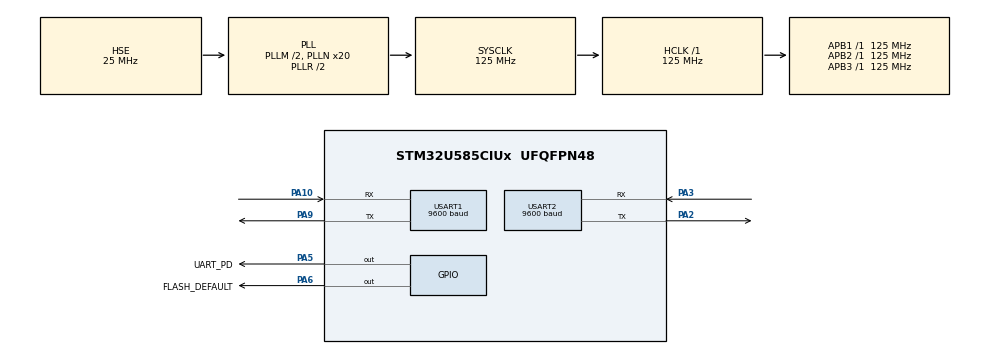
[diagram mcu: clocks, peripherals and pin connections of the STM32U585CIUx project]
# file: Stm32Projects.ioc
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CORTEX_M33_NS.userName=CORTEX_M33
Mcu.Family=STM32U5
Mcu.Name=STM32U585CIUx
Mcu.Package=UFQFPN48
NVIC.PriorityGroup=NVIC_PRIORITYGROUP_4
NVIC.USART1_IRQn=true\:0\:0\:false\:false\:true\:true\:true\:true
NVIC.USART2_IRQn=true\:0\:0\:false\:false\:true\:true\:true\:true
PA10.Mode=Asynchronous
PA10.Signal=USART1_RX
PA13\ (JTMS/SWDIO).Mode=Serial_Wire
PA13\ (JTMS/SWDIO).Signal=DEBUG_JTMS-SWDIO
PA14\ (JTCK/SWCLK).Mode=Serial_Wire
PA14\ (JTCK/SWCLK).Signal=DEBUG_JTCK-SWCLK
PA2.Mode=Asynchronous
PA2.Signal=USART2_TX
PA3.Mode=Asynchronous
PA3.Signal=USART2_RX
PA5.GPIO_Label=UART_PD 
PA5.PinState=GPIO_PIN_SET
PA5.Signal=GPIO_Output
PA6.GPIO_Label=FLASH_DEFAULT
PA6.PinState=GPIO_PIN_SET
PA6.Signal=GPIO_Output
PA9.Mode=Asynchronous
PA9.Signal=USART1_TX
PC14-OSC32_IN\ (PC14).Mode=LSE-External-Oscillator
PC14-OSC32_IN\ (PC14).Signal=RCC_OSC32_IN
PC15-OSC32_OUT\ (PC15).Mode=LSE-External-Oscillator
PC15-OSC32_OUT\ (PC15).Signal=RCC_OSC32_OUT
PH0-OSC_IN\ (PH0).Mode=HSE-External-Oscillator
PH0-OSC_IN\ (PH0).Signal=RCC_OSC_IN
PH1-OSC_OUT\ (PH1).Mode=HSE-External-Oscillator
PH1-OSC_OUT\ (PH1).Signal=RCC_OSC_OUT
ProjectManager.HeapSize=0x200
ProjectManager.StackSize=0x400
ProjectManager.TargetToolchain=STM32CubeIDE
RCC.ADCFreq_Value=16000000
RCC.AHBFreq_Value=125000000
RCC.APB1Freq_Value=125000000
RCC.APB1TimFreq_Value=125000000
RCC.APB2Freq_Value=125000000
RCC.APB2TimFreq_Value=125000000
RCC.APB3Freq_Value=125000000
RCC.CortexFreq_Value=125000000
RCC.EPOD_VALUE=25000000
RCC.HCLKFreq_Value=125000000
RCC.HSE_VALUE=25000000
RCC.HSI48_VALUE=48000000
RCC.HSI_VALUE=16000000
RCC.LSIDIV_VALUE=32000
RCC.MSI_VALUE=4000000
RCC.PLL2FRACN=0
RCC.PLL2Source=RCC_PLLSOURCE_HSE
RCC.PLL3FRACN=0
RCC.PLL3Source=RCC_PLLSOURCE_HSI
RCC.PLLFRACN=0
RCC.PLLM=2
RCC.PLLN=20
RCC.PLLSourceVirtual=RCC_PLLSOURCE_HSE
RCC.SYSCLKFreq_VALUE=125000000
RCC.SYSCLKSource=RCC_SYSCLKSOURCE_PLLCLK
RCC.USART1CLockSelectionVirtual=RCC_USART1CLKSOURCE_HSI
RCC.USART2CLockSelectionVirtual=RCC_USART2CLKSOURCE_HSI
RCC.USBFreq_Value=48000000
RCC.VCOOutputFreq_Value=250000000
USART1.BaudRate=9600
USART1.VirtualMode-Asynchronous=VM_ASYNC
USART2.BaudRate=9600
USART2.VirtualMode-Asynchronous=VM_ASYNC
VP_LPBAMQUEUE_VS_QUEUE.Mode=QUEUEMODE
VP_LPBAM_VS_SIG1.Mode=SmartRun
VP_LPBAM_VS_SIG4.Mode=LPDMA1
VP_MEMORYMAP_VS_MEMORYMAP.Mode=CurAppReg
VP_PWR_VS_SECSignals.Mode=Security/Privilege
board=custom

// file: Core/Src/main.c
/* USER CODE BEGIN Header */
/**
  ******************************************************************************
  * @file           : main.c
  * @brief          : Main program body
  ******************************************************************************
  * @attention
  *
  * Copyright (c) 2026 STMicroelectronics.
  * All rights reserved.
  *
  * This software is licensed under terms that can be found in the LICENSE file
  * in the root directory of this software component.
  * If no LICENSE file comes with this software, it is provided AS-IS.
  *
  ******************************************************************************
  */
/* USER CODE END Header */
#include "main.h"

/* USER CODE BEGIN Includes */
#include "string.h"

/* USER CODE END Includes */

/* USER CODE BEGIN PD */
#define UART_RX_BUFFER_SIZE  40
uint8_t UART1_RxBuffer[UART_RX_BUFFER_SIZE] = {0};
uint8_t MainBuffer[UART_RX_BUFFER_SIZE]; // Temporary storage for transmission
uint16_t RxDataLen = 0;

uint8_t Uart2_RxBuffer[UART_RX_BUFFER_SIZE] = {0};
uint8_t Uart2_MainBuffer[UART_RX_BUFFER_SIZE]; // Temporary storage for transmission
uint16_t Uart2_RxDataLen = 0;

volatile uint8_t newDataFromPC = 0;
volatile uint8_t newDataFromBLE = 0;

/* USER CODE END PD */

UART_HandleTypeDef huart1;
UART_HandleTypeDef huart2;

void SystemClock_Config(void);
static void MX_GPIO_Init(void);
static void MX_USART1_UART_Init(void);
static void MX_USART2_UART_Init(void);

int main(void)
{

  /* MCU Configuration--------------------------------------------------------*/

  /* Reset of all peripherals, Initializes the Flash interface and the Systick. */
  HAL_Init();

  /* Configure the system clock */
  SystemClock_Config();

  /* Initialize all configured peripherals */
  MX_GPIO_Init();
  MX_USART1_UART_Init();
  MX_USART2_UART_Init();
  /* USER CODE BEGIN 2 */

  HAL_UARTEx_ReceiveToIdle_IT(&huart1, UART1_RxBuffer, UART_RX_BUFFER_SIZE);
  HAL_UARTEx_ReceiveToIdle_IT(&huart2, Uart2_RxBuffer, UART_RX_BUFFER_SIZE);

  /* USER CODE END 2 */

  /* Infinite loop */
  while (1)
  {

    /* USER CODE BEGIN 3 */

	  // If we have PC data AND the UART is actually ready to send
	      if (newDataFromPC && huart1.gState == HAL_UART_STATE_READY) {
	          newDataFromPC = 0;
	          HAL_UART_Transmit_IT(&huart1, MainBuffer, RxDataLen); //transmit usb to serial converter. from pc ---> stm32 ----> pc message that was just Received by stm32 that was send by pc.
	          HAL_GPIO_WritePin(GPIOA, GPIO_PIN_5, GPIO_PIN_RESET); //set UART_PD low
	          HAL_Delay(4); // wait 4ms

	          HAL_UART_Transmit_IT(&huart2, MainBuffer, RxDataLen); //transmit to ble module

	          HAL_Delay(250); // wait 250ms blocking delay this is bad we should implement none blocking

	      }

	      // If we have BLE data AND the UART is actually ready to send
	      if (newDataFromBLE && huart1.gState == HAL_UART_STATE_READY) {
	          newDataFromBLE = 0;
	          HAL_UART_Transmit_IT(&huart1, Uart2_MainBuffer, Uart2_RxDataLen);//transmit data from ble module to pc so we can see it in serial terminal.
	      }

  }
  /* USER CODE END 3 */
}

void SystemClock_Config(void)
{
  RCC_OscInitTypeDef RCC_OscInitStruct = {0};
  RCC_ClkInitTypeDef RCC_ClkInitStruct = {0};

  /** Configure the main internal regulator output voltage
  */
  if (HAL_PWREx_ControlVoltageScaling(PWR_REGULATOR_VOLTAGE_SCALE1) != HAL_OK)
  {
    Error_Handler();
  }

  /** Initializes the CPU, AHB and APB buses clocks
  */
  RCC_OscInitStruct.OscillatorType = RCC_OSCILLATORTYPE_HSI|RCC_OSCILLATORTYPE_HSE;
  RCC_OscInitStruct.HSEState = RCC_HSE_ON;
  RCC_OscInitStruct.HSIState = RCC_HSI_ON;
  RCC_OscInitStruct.HSICalibrationValue = RCC_HSICALIBRATION_DEFAULT;
  RCC_OscInitStruct.PLL.PLLState = RCC_PLL_ON;
  RCC_OscInitStruct.PLL.PLLSource = RCC_PLLSOURCE_HSE;
  RCC_OscInitStruct.PLL.PLLMBOOST = RCC_PLLMBOOST_DIV2;
  RCC_OscInitStruct.PLL.PLLM = 2;
  RCC_OscInitStruct.PLL.PLLN = 20;
  RCC_OscInitStruct.PLL.PLLP = 2;
  RCC_OscInitStruct.PLL.PLLQ = 2;
  RCC_OscInitStruct.PLL.PLLR = 2;
  RCC_OscInitStruct.PLL.PLLRGE = RCC_PLLVCIRANGE_1;
  RCC_OscInitStruct.PLL.PLLFRACN = 0;
  if (HAL_RCC_OscConfig(&RCC_OscInitStruct) != HAL_OK)
  {
    Error_Handler();
  }

  /** Initializes the CPU, AHB and APB buses clocks
  */
  RCC_ClkInitStruct.ClockType = RCC_CLOCKTYPE_HCLK|RCC_CLOCKTYPE_SYSCLK
                              |RCC_CLOCKTYPE_PCLK1|RCC_CLOCKTYPE_PCLK2
                              |RCC_CLOCKTYPE_PCLK3;
  RCC_ClkInitStruct.SYSCLKSource = RCC_SYSCLKSOURCE_PLLCLK;
  RCC_ClkInitStruct.AHBCLKDivider = RCC_SYSCLK_DIV1;
  RCC_ClkInitStruct.APB1CLKDivider = RCC_HCLK_DIV1;
  RCC_ClkInitStruct.APB2CLKDivider = RCC_HCLK_DIV1;
  RCC_ClkInitStruct.APB3CLKDivider = RCC_HCLK_DIV1;

  if (HAL_RCC_ClockConfig(&RCC_ClkInitStruct, FLASH_LATENCY_3) != HAL_OK)
  {
    Error_Handler();
  }
}

static void MX_USART1_UART_Init(void)
{

  huart1.Instance = USART1;
  huart1.Init.BaudRate = 9600;
  huart1.Init.WordLength = UART_WORDLENGTH_8B;
  huart1.Init.StopBits = UART_STOPBITS_1;
  huart1.Init.Parity = UART_PARITY_NONE;
  huart1.Init.Mode = UART_MODE_TX_RX;
  huart1.Init.HwFlowCtl = UART_HWCONTROL_NONE;
  huart1.Init.OverSampling = UART_OVERSAMPLING_16;
  huart1.Init.OneBitSampling = UART_ONE_BIT_SAMPLE_DISABLE;
  huart1.Init.ClockPrescaler = UART_PRESCALER_DIV1;
  huart1.AdvancedInit.AdvFeatureInit = UART_ADVFEATURE_NO_INIT;
  if (HAL_UART_Init(&huart1) != HAL_OK)
  {
    Error_Handler();
  }
  if (HAL_UARTEx_SetTxFifoThreshold(&huart1, UART_TXFIFO_THRESHOLD_1_8) != HAL_OK)
  {
    Error_Handler();
  }
  if (HAL_UARTEx_SetRxFifoThreshold(&huart1, UART_RXFIFO_THRESHOLD_1_8) != HAL_OK)
  {
    Error_Handler();
  }
  if (HAL_UARTEx_DisableFifoMode(&huart1) != HAL_OK)
  {
    Error_Handler();
  }

}

static void MX_USART2_UART_Init(void)
{

  huart2.Instance = USART2;
  huart2.Init.BaudRate = 9600;
  huart2.Init.WordLength = UART_WORDLENGTH_8B;
  huart2.Init.StopBits = UART_STOPBITS_1;
  huart2.Init.Parity = UART_PARITY_NONE;
  huart2.Init.Mode = UART_MODE_TX_RX;
  huart2.Init.HwFlowCtl = UART_HWCONTROL_NONE;
  huart2.Init.OverSampling = UART_OVERSAMPLING_16;
  huart2.Init.OneBitSampling = UART_ONE_BIT_SAMPLE_DISABLE;
  huart2.Init.ClockPrescaler = UART_PRESCALER_DIV1;
  huart2.AdvancedInit.AdvFeatureInit = UART_ADVFEATURE_NO_INIT;
  if (HAL_UART_Init(&huart2) != HAL_OK)
  {
    Error_Handler();
  }
  if (HAL_UARTEx_SetTxFifoThreshold(&huart2, UART_TXFIFO_THRESHOLD_1_8) != HAL_OK)
  {
    Error_Handler();
  }
  if (HAL_UARTEx_SetRxFifoThreshold(&huart2, UART_RXFIFO_THRESHOLD_1_8) != HAL_OK)
  {
    Error_Handler();
  }
  if (HAL_UARTEx_DisableFifoMode(&huart2) != HAL_OK)
  {
    Error_Handler();
  }

}

static void MX_GPIO_Init(void)
{
  GPIO_InitTypeDef GPIO_InitStruct = {0};

  /* GPIO Ports Clock Enable */
  __HAL_RCC_GPIOC_CLK_ENABLE();
  __HAL_RCC_GPIOH_CLK_ENABLE();
  __HAL_RCC_GPIOA_CLK_ENABLE();

  /*Configure GPIO pin Output Level */
  HAL_GPIO_WritePin(GPIOA, UART_PD_Pin|FLASH_DEFAULT_Pin, GPIO_PIN_SET);

  /*Configure GPIO pins : UART_PD_Pin FLASH_DEFAULT_Pin */
  GPIO_InitStruct.Pin = UART_PD_Pin|FLASH_DEFAULT_Pin;
  GPIO_InitStruct.Mode = GPIO_MODE_OUTPUT_PP;
  GPIO_InitStruct.Pull = GPIO_NOPULL;
  GPIO_InitStruct.Speed = GPIO_SPEED_FREQ_LOW;
  HAL_GPIO_Init(GPIOA, &GPIO_InitStruct);

}

/* USER CODE BEGIN 4 */

void HAL_UARTEx_RxEventCallback(UART_HandleTypeDef *huart, uint16_t Size)
{
    if (huart->Instance == USART1) {
        RxDataLen = Size;
        memcpy(MainBuffer, UART1_RxBuffer, Size);
        newDataFromPC = 1; // Just set a flag
        HAL_UARTEx_ReceiveToIdle_IT(&huart1, UART1_RxBuffer, UART_RX_BUFFER_SIZE); //will stop listening to uart1 we need to restart usart2 listening. so HAL_UARTEx_RxEventCallback can run again from usart1
    }
    else if (huart->Instance == USART2) {
        Uart2_RxDataLen = Size;
        memcpy(Uart2_MainBuffer, Uart2_RxBuffer, Size);
        newDataFromBLE = 1; // Just set a flag
        HAL_UARTEx_ReceiveToIdle_IT(&huart2, Uart2_RxBuffer, UART_RX_BUFFER_SIZE);// will stop listening to uart2 we need to restart usart2 listening. so HAL_UARTEx_RxEventCallback can run again from usart2

    }
}

/* USER CODE END 4 */

void Error_Handler(void)
{
  __disable_irq();
  while (1)
  {
  }
}
